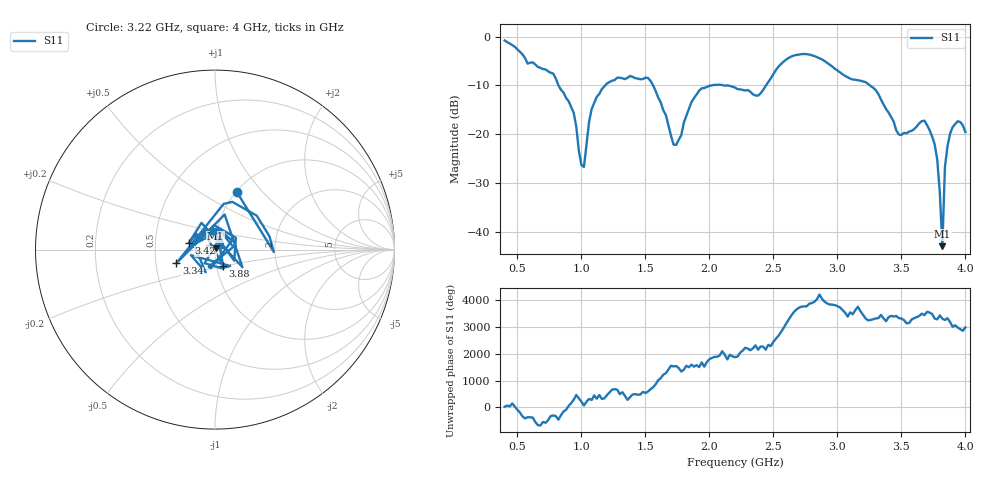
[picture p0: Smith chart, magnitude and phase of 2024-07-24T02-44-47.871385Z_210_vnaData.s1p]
!Created with skrf (http://scikit-rf.org).
# Hz S RI R 50.0
!freq ReS11 ImS11
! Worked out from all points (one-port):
!   181 points, 400 MHz to 4 GHz, reference 50 ohm
!   lowest |S11| = -42.9 dB at 3.82 GHz (marker M1), VSWR 1.01, Z = 50.3 + j0.631 ohm
!   |S11| at or under -10 dB: 821 MHz to 1.186 GHz (364.8 MHz wide, 36.4 % of centre); 1.561 GHz to 2.015 GHz (454 MHz wide, 25.4 % of centre); 3.255 GHz to end of sweep (the widest 3 of 5)
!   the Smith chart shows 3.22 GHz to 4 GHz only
!   S11 on the Smith chart (normalised r, x): 3.22 GHz: 1.01, +0.73; 3.34 GHz: 0.64, -0.10; 3.42 GHz: 0.74, +0.06; 3.88 GHz: 1.08, -0.20; 4 GHz: 0.95, +0.20
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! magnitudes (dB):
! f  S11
! 400 MHz  -0.8
! 860 MHz  -11.4
! 940 MHz  -15.6
! 1 GHz  -26.3
! 1.02 GHz  -26.7
! 1.08 GHz  -14.8
! 1.3 GHz  -8.4
! 1.52 GHz  -8.5
! 1.72 GHz  -22.1
! 1.76 GHz  -21.1
! 1.92 GHz  -11.0
! 2.2 GHz  -10.4
! 2.38 GHz  -12.1
! 2.66 GHz  -3.9
! 3.1 GHz  -8.6
! 3.22 GHz  -9.3
! 3.34 GHz  -12.9
! 3.42 GHz  -16.5
! 3.48 GHz  -20.0
! 3.56 GHz  -19.4
! 3.68 GHz  -17.2
! 3.76 GHz  -22.1
! 3.8 GHz  -31.8
! 3.82 GHz  -42.9
! 3.84 GHz  -26.7
! 3.88 GHz  -19.9
! 3.94 GHz  -17.3
! 4 GHz  -19.5
